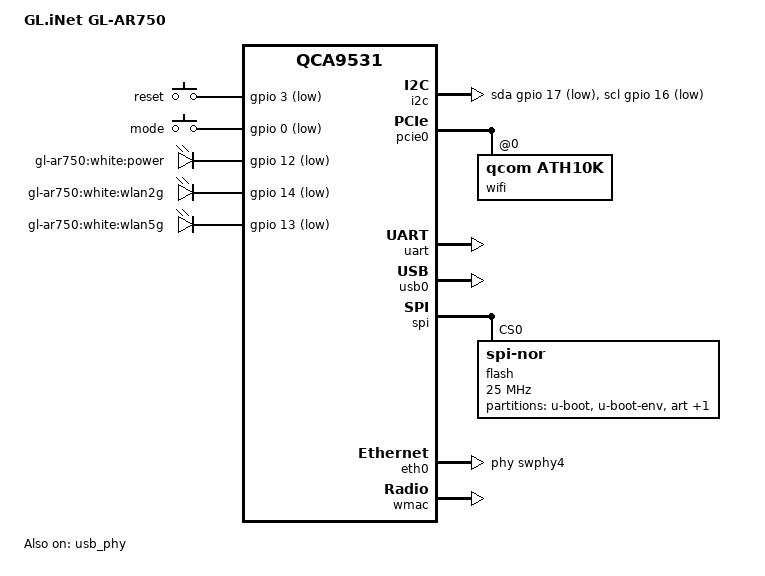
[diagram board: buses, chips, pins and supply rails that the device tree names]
// SPDX-License-Identifier: GPL-2.0-or-later OR MIT

#include "qca953x.dtsi"

#include <dt-bindings/gpio/gpio.h>
#include <dt-bindings/input/input.h>

/ {
	compatible = "glinet,gl-ar750", "qca,qca9531";
	model = "GL.iNet GL-AR750";

	aliases {
		led-boot = &led_power;
		led-failsafe = &led_power;
		led-running = &led_power;
		led-upgrade = &led_power;
		label-mac-device = &eth0;
	};

	keys {
		compatible = "gpio-keys";

		pinctrl-names = "default";
		pinctrl-0 = <&jtag_disable_pins>;

		reset {
			label = "reset";
			linux,code = <KEY_RESTART>;
			gpios = <&gpio 3 GPIO_ACTIVE_LOW>;
		};

		mode {
			label = "mode";
			linux,code = <BTN_0>;
			gpios = <&gpio 0 GPIO_ACTIVE_LOW>;
		};
	};

	leds {
		compatible = "gpio-leds";

		led_power: power {
			label = "gl-ar750:white:power";
			gpios = <&gpio 12 GPIO_ACTIVE_LOW>;
			default-state = "on";
		};

		wlan2g {
			label = "gl-ar750:white:wlan2g";
			gpios = <&gpio 14 GPIO_ACTIVE_LOW>;
			linux,default-trigger = "phy1tpt";
		};

		wlan5g {
			label = "gl-ar750:white:wlan5g";
			gpios = <&gpio 13 GPIO_ACTIVE_LOW>;
			linux,default-trigger = "phy0tpt";
		};
	};

	i2c {
		compatible = "i2c-gpio";

		sda-gpios = <&gpio 17 GPIO_ACTIVE_LOW>;
		scl-gpios = <&gpio 16 GPIO_ACTIVE_LOW>;
	};
};

&pcie0 {
	status = "okay";

	wifi@0,0 {
		compatible = "qcom,ath10k";
		reg = <0 0 0 0 0>;
		device_type = "pci";
	};
};

&uart {
	status = "okay";
};

&usb0 {
	status = "okay";
};

&usb_phy {
	status = "okay";
};

&spi {
	status = "okay";
	num-cs = <0>;

	flash@0 {
		compatible = "jedec,spi-nor";
		reg = <0>;
		spi-max-frequency = <25000000>;

		partitions {
			compatible = "fixed-partitions";
			#address-cells = <1>;
			#size-cells = <1>;

			partition@0 {
				label = "u-boot";
				reg = <0x000000 0x040000>;
				read-only;
			};

			partition@40000 {
				label = "u-boot-env";
				reg = <0x040000 0x010000>;
				read-only;
			};

			art: partition@50000 {
				label = "art";
				reg = <0x050000 0x010000>;
				read-only;
			};

			partition@60000 {
				compatible = "denx,uimage";
				label = "firmware";
				reg = <0x060000 0xfa0000>;
			};
		};
	};
};

&eth0 {
	status = "okay";

	phy-handle = <&swphy4>;

	mtd-mac-address = <&art 0x0>;
};

&eth1 {
	mtd-mac-address = <&art 0x0>;
	mtd-mac-address-increment = <1>;
};

&wmac {
	status = "okay";

	mtd-cal-data = <&art 0x1000>;
};
